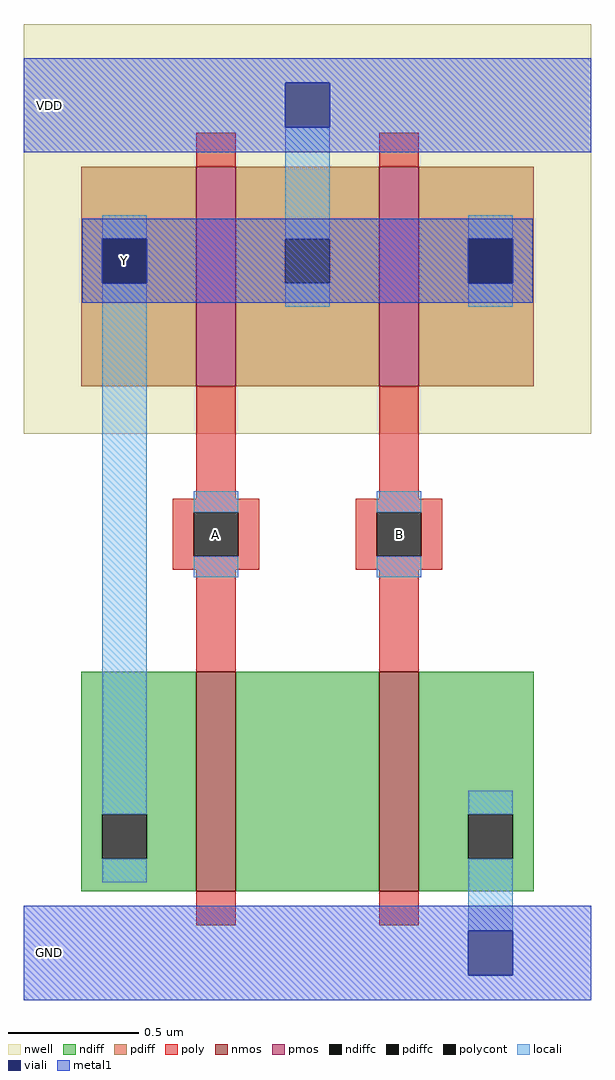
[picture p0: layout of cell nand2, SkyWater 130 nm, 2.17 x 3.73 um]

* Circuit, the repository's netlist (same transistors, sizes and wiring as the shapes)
.subckt nand2 a b y vdd vss
XXP1 y a vdd vdd sky130_fd_pr__pfet_01v8 L=0.15 W=0.84 nf=1 m=1
XXP2 y b vdd vdd sky130_fd_pr__pfet_01v8 L=0.15 W=0.84 nf=1 m=1
XXN1 y a n1 vss sky130_fd_pr__nfet_01v8 L=0.15 W=0.84 nf=1 m=1
XXN2 n1 b vss vss sky130_fd_pr__nfet_01v8 L=0.15 W=0.84 nf=1 m=1
.ends

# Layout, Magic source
magic
tech sky130A
magscale 1 2
<< nwell >>
rect 0 397 434 710
<< nmos >>
rect 132 47 162 215
rect 272 47 302 215
<< pmos >>
rect 132 433 162 601
rect 272 433 302 601
<< ndiff >>
rect 44 106 132 215
rect 44 72 60 106
rect 94 72 132 106
rect 44 47 132 72
rect 162 47 272 215
rect 302 106 390 215
rect 302 72 340 106
rect 374 72 390 106
rect 302 47 390 72
<< pdiff >>
rect 44 546 132 601
rect 44 512 60 546
rect 94 512 132 546
rect 44 433 132 512
rect 162 546 272 601
rect 162 512 200 546
rect 234 512 272 546
rect 162 433 272 512
rect 302 546 390 601
rect 302 512 340 546
rect 374 512 390 546
rect 302 433 390 512
<< ndiffc >>
rect 60 72 94 106
rect 340 72 374 106
<< pdiffc >>
rect 60 512 94 546
rect 200 512 234 546
rect 340 512 374 546
<< poly >>
rect 132 601 162 627
rect 272 601 302 627
rect 132 347 162 433
rect 272 347 302 433
rect 114 337 180 347
rect 114 303 130 337
rect 164 303 180 337
rect 114 293 180 303
rect 254 337 320 347
rect 254 303 270 337
rect 304 303 320 337
rect 254 293 320 303
rect 132 215 162 293
rect 272 215 302 293
rect 132 21 162 47
rect 272 21 302 47
<< polycont >>
rect 130 303 164 337
rect 270 303 304 337
<< locali >>
rect 60 546 94 564
rect 60 106 94 512
rect 200 546 234 631
rect 200 494 234 512
rect 340 546 374 564
rect 340 494 374 512
rect 130 337 164 353
rect 130 287 164 303
rect 270 337 304 353
rect 270 287 304 303
rect 60 54 94 72
rect 340 106 374 124
rect 340 17 374 72
<< viali >>
rect 200 631 234 665
rect 60 512 94 546
rect 340 512 374 546
rect 340 -17 374 17
<< metal1 >>
rect 0 665 434 684
rect 0 631 200 665
rect 234 631 434 665
rect 0 612 434 631
rect 45 546 389 561
rect 45 512 60 546
rect 94 512 340 546
rect 374 512 389 546
rect 45 497 389 512
rect 0 17 434 36
rect 0 -17 340 17
rect 374 -17 434 17
rect 0 -36 434 -17
<< labels >>
rlabel polycont 147 320 147 320 0 A
port 1 nsew
rlabel polycont 287 320 287 320 0 B
port 2 nsew
rlabel viali 77 529 77 529 0 Y
port 3 nsew
rlabel metal1 20 648 20 648 0 VDD
port 4 nsew
rlabel metal1 20 0 20 0 0 GND
port 5 nsew
<< end >>
